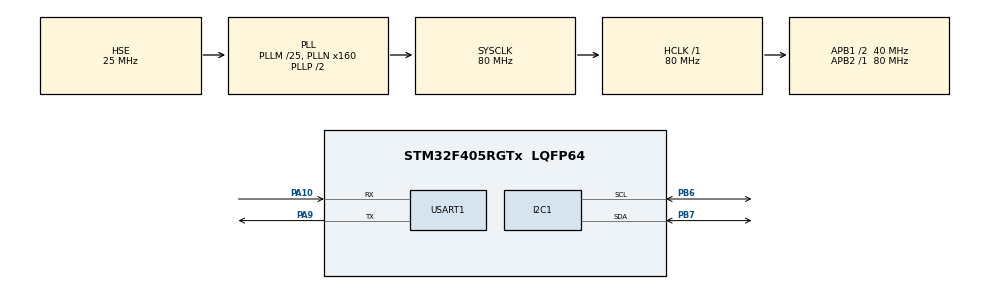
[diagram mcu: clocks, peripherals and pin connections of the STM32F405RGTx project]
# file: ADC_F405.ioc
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Dma.Request0=USART1_TX
Dma.USART1_TX.0.Direction=DMA_MEMORY_TO_PERIPH
Dma.USART1_TX.0.FIFOMode=DMA_FIFOMODE_DISABLE
Dma.USART1_TX.0.Instance=DMA2_Stream7
Dma.USART1_TX.0.MemDataAlignment=DMA_MDATAALIGN_BYTE
Dma.USART1_TX.0.MemInc=DMA_MINC_ENABLE
Dma.USART1_TX.0.Mode=DMA_NORMAL
Dma.USART1_TX.0.PeriphDataAlignment=DMA_PDATAALIGN_BYTE
Dma.USART1_TX.0.PeriphInc=DMA_PINC_DISABLE
Dma.USART1_TX.0.Priority=DMA_PRIORITY_LOW
FREERTOS.Queues01=uart1_smac_rx_inQ,100,uint8_t,0,Dynamic,NULL,NULL;uart1_smac_tx_outQ,10,uint8_t*,0,Dynamic,NULL,NULL;puck_rxQ,50,uint8_t,0,Dynamic,NULL,NULL;ssp_rxQ,50,uint8_t,0,Dynamic,NULL,NULL
FREERTOS.Tasks01=defaultTask,0,128,StartDefaultTask,Default,NULL,Dynamic,NULL,NULL;uart1_smac_t,-3,128,uart1_smac_f,Default,NULL,Dynamic,NULL,NULL;puck_t,-3,128,puck_f,Default,NULL,Dynamic,NULL,NULL;ssp_t,-3,256,ssp_f,Default,NULL,Dynamic,NULL,NULL;adc_t,-3,128,adc_f,Default,NULL,Dynamic,NULL,NULL
FREERTOS.configUSE_NEWLIB_REENTRANT=1
Mcu.Family=STM32F4
Mcu.Name=STM32F405RGTx
Mcu.Package=LQFP64
NVIC.DMA2_Stream7_IRQn=true\:5\:0\:false\:false\:true\:true\:false\:true
NVIC.PriorityGroup=NVIC_PRIORITYGROUP_4
NVIC.TIM1_UP_TIM10_IRQn=true\:0\:0\:false\:false\:true\:false\:false\:true
NVIC.TIM2_IRQn=true\:5\:0\:false\:false\:true\:true\:true\:true
NVIC.TimeBase=TIM1_UP_TIM10_IRQn
NVIC.TimeBaseIP=TIM1
NVIC.USART1_IRQn=true\:5\:0\:false\:false\:true\:true\:true\:true
PA10.Mode=Asynchronous
PA10.Signal=USART1_RX
PA13.Mode=Serial_Wire
PA13.Signal=SYS_JTMS-SWDIO
PA14.Mode=Serial_Wire
PA14.Signal=SYS_JTCK-SWCLK
PA9.Mode=Asynchronous
PA9.Signal=USART1_TX
PB6.GPIO_Pu=GPIO_PULLUP
PB6.Mode=I2C
PB6.Signal=I2C1_SCL
PB7.GPIO_Pu=GPIO_PULLUP
PB7.Mode=I2C
PB7.Signal=I2C1_SDA
PH0-OSC_IN.Mode=HSE-External-Oscillator
PH0-OSC_IN.Signal=RCC_OSC_IN
PH1-OSC_OUT.Mode=HSE-External-Oscillator
PH1-OSC_OUT.Signal=RCC_OSC_OUT
ProjectManager.HeapSize=0x200
ProjectManager.StackSize=0x400
ProjectManager.TargetToolchain=STM32CubeIDE
RCC.48MHZClocksFreq_Value=40000000
RCC.AHBFreq_Value=80000000
RCC.APB1CLKDivider=RCC_HCLK_DIV2
RCC.APB1Freq_Value=40000000
RCC.APB1TimFreq_Value=80000000
RCC.APB2Freq_Value=80000000
RCC.APB2TimFreq_Value=80000000
RCC.CortexFreq_Value=80000000
RCC.HCLKFreq_Value=80000000
RCC.HSE_VALUE=25000000
RCC.HSI_VALUE=16000000
RCC.LSE_VALUE=32768
RCC.PLLM=25
RCC.PLLN=160
RCC.PLLSourceVirtual=RCC_PLLSOURCE_HSE
RCC.SYSCLKFreq_VALUE=80000000
RCC.SYSCLKSource=RCC_SYSCLKSOURCE_PLLCLK
RCC.VCOOutputFreq_Value=160000000
TIM2.Period=800000
USART1.VirtualMode=VM_ASYNC
VP_FREERTOS_VS_CMSIS_V1.Mode=CMSIS_V1
VP_SYS_VS_tim1.Mode=TIM1
VP_TIM2_VS_ClockSourceINT.Mode=Internal
board=custom

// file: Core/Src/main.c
/* USER CODE BEGIN Header */
/**
  ******************************************************************************
  * @file           : main.c
  * @brief          : Main program body
  ******************************************************************************
  * @attention
  *
  * <h2><center>&copy; Copyright (c) 2021 STMicroelectronics.
  * All rights reserved.</center></h2>
  *
  * This software component is licensed by ST under Ultimate Liberty license
  * SLA0044, the "License"; You may not use this file except in compliance with
  * the License. You may obtain a copy of the License at:
  *                             www.st.com/SLA0044
  *
  ******************************************************************************
  */
/* USER CODE END Header */
#include "main.h"
#include "cmsis_os.h"

/* USER CODE BEGIN Includes */
#include "interrupts.h"
#include "PUCK.h"
#include "SSP.h"
#include "smac.h"
#include "ADC.h"
/* USER CODE END Includes */

I2C_HandleTypeDef hi2c1;

TIM_HandleTypeDef htim2;

UART_HandleTypeDef huart1;
DMA_HandleTypeDef hdma_usart1_tx;

osThreadId defaultTaskHandle;
osThreadId uart1_smac_tHandle;
osThreadId puck_tHandle;
osThreadId ssp_tHandle;
osThreadId adc_tHandle;
osMessageQId uart1_smac_rx_inQHandle;
osMessageQId uart1_smac_tx_outQHandle;
osMessageQId puck_rxQHandle;
osMessageQId ssp_rxQHandle;
/* USER CODE BEGIN PV */
smac_controller*  uart1_smac;
extern adc_object adc_main;

/* USER CODE END PV */

void SystemClock_Config(void);
static void MX_GPIO_Init(void);
static void MX_DMA_Init(void);
static void MX_USART1_UART_Init(void);
static void MX_I2C1_Init(void);
static void MX_TIM2_Init(void);
void StartDefaultTask(void const * argument);
void uart1_smac_f(void const * argument);
void puck_f(void const * argument);
void ssp_f(void const * argument);
void adc_f(void const * argument);

int main(void)
{

  /* MCU Configuration--------------------------------------------------------*/

  /* Reset of all peripherals, Initializes the Flash interface and the Systick. */
  HAL_Init();

  /* Configure the system clock */
  SystemClock_Config();

  /* Initialize all configured peripherals */
  MX_GPIO_Init();
  MX_DMA_Init();
  MX_USART1_UART_Init();
  MX_I2C1_Init();
  MX_TIM2_Init();

  /* Create the queue(s) */
  /* definition and creation of uart1_smac_rx_inQ */
  osMessageQDef(uart1_smac_rx_inQ, 100, uint8_t);
  uart1_smac_rx_inQHandle = osMessageCreate(osMessageQ(uart1_smac_rx_inQ), NULL);

  /* definition and creation of uart1_smac_tx_outQ */
  osMessageQDef(uart1_smac_tx_outQ, 10, uint8_t*);
  uart1_smac_tx_outQHandle = osMessageCreate(osMessageQ(uart1_smac_tx_outQ), NULL);

  /* definition and creation of puck_rxQ */
  osMessageQDef(puck_rxQ, 50, uint8_t);
  puck_rxQHandle = osMessageCreate(osMessageQ(puck_rxQ), NULL);

  /* definition and creation of ssp_rxQ */
  osMessageQDef(ssp_rxQ, 50, uint8_t);
  ssp_rxQHandle = osMessageCreate(osMessageQ(ssp_rxQ), NULL);

  /* Create the thread(s) */
  /* definition and creation of defaultTask */
  osThreadDef(defaultTask, StartDefaultTask, osPriorityNormal, 0, 128);
  defaultTaskHandle = osThreadCreate(osThread(defaultTask), NULL);

  /* definition and creation of uart1_smac_t */
  osThreadDef(uart1_smac_t, uart1_smac_f, osPriorityIdle, 0, 128);
  uart1_smac_tHandle = osThreadCreate(osThread(uart1_smac_t), NULL);

  /* definition and creation of puck_t */
  osThreadDef(puck_t, puck_f, osPriorityIdle, 0, 128);
  puck_tHandle = osThreadCreate(osThread(puck_t), NULL);

  /* definition and creation of ssp_t */
  osThreadDef(ssp_t, ssp_f, osPriorityIdle, 0, 256);
  ssp_tHandle = osThreadCreate(osThread(ssp_t), NULL);

  /* definition and creation of adc_t */
  osThreadDef(adc_t, adc_f, osPriorityIdle, 0, 128);
  adc_tHandle = osThreadCreate(osThread(adc_t), NULL);

  /* Start scheduler */
  osKernelStart();

  /* We should never get here as control is now taken by the scheduler */
  /* Infinite loop */
  while (1)
  {

  }
}

void SystemClock_Config(void)
{
  RCC_OscInitTypeDef RCC_OscInitStruct = {0};
  RCC_ClkInitTypeDef RCC_ClkInitStruct = {0};

  /** Configure the main internal regulator output voltage
  */
  __HAL_RCC_PWR_CLK_ENABLE();
  __HAL_PWR_VOLTAGESCALING_CONFIG(PWR_REGULATOR_VOLTAGE_SCALE1);
  /** Initializes the RCC Oscillators according to the specified parameters
  * in the RCC_OscInitTypeDef structure.
  */
  RCC_OscInitStruct.OscillatorType = RCC_OSCILLATORTYPE_HSE;
  RCC_OscInitStruct.HSEState = RCC_HSE_ON;
  RCC_OscInitStruct.PLL.PLLState = RCC_PLL_ON;
  RCC_OscInitStruct.PLL.PLLSource = RCC_PLLSOURCE_HSE;
  RCC_OscInitStruct.PLL.PLLM = 25;
  RCC_OscInitStruct.PLL.PLLN = 160;
  RCC_OscInitStruct.PLL.PLLP = RCC_PLLP_DIV2;
  RCC_OscInitStruct.PLL.PLLQ = 4;
  if (HAL_RCC_OscConfig(&RCC_OscInitStruct) != HAL_OK)
  {
    Error_Handler();
  }
  /** Initializes the CPU, AHB and APB buses clocks
  */
  RCC_ClkInitStruct.ClockType = RCC_CLOCKTYPE_HCLK|RCC_CLOCKTYPE_SYSCLK
                              |RCC_CLOCKTYPE_PCLK1|RCC_CLOCKTYPE_PCLK2;
  RCC_ClkInitStruct.SYSCLKSource = RCC_SYSCLKSOURCE_PLLCLK;
  RCC_ClkInitStruct.AHBCLKDivider = RCC_SYSCLK_DIV1;
  RCC_ClkInitStruct.APB1CLKDivider = RCC_HCLK_DIV2;
  RCC_ClkInitStruct.APB2CLKDivider = RCC_HCLK_DIV1;

  if (HAL_RCC_ClockConfig(&RCC_ClkInitStruct, FLASH_LATENCY_2) != HAL_OK)
  {
    Error_Handler();
  }
}

static void MX_I2C1_Init(void)
{

  hi2c1.Instance = I2C1;
  hi2c1.Init.ClockSpeed = 100000;
  hi2c1.Init.DutyCycle = I2C_DUTYCYCLE_2;
  hi2c1.Init.OwnAddress1 = 0;
  hi2c1.Init.AddressingMode = I2C_ADDRESSINGMODE_7BIT;
  hi2c1.Init.DualAddressMode = I2C_DUALADDRESS_DISABLE;
  hi2c1.Init.OwnAddress2 = 0;
  hi2c1.Init.GeneralCallMode = I2C_GENERALCALL_DISABLE;
  hi2c1.Init.NoStretchMode = I2C_NOSTRETCH_DISABLE;
  if (HAL_I2C_Init(&hi2c1) != HAL_OK)
  {
    Error_Handler();
  }

}

static void MX_TIM2_Init(void)
{

  TIM_ClockConfigTypeDef sClockSourceConfig = {0};
  TIM_MasterConfigTypeDef sMasterConfig = {0};

  htim2.Instance = TIM2;
  htim2.Init.Prescaler = 0;
  htim2.Init.CounterMode = TIM_COUNTERMODE_UP;
  htim2.Init.Period = 800000;
  htim2.Init.ClockDivision = TIM_CLOCKDIVISION_DIV1;
  htim2.Init.AutoReloadPreload = TIM_AUTORELOAD_PRELOAD_DISABLE;
  if (HAL_TIM_Base_Init(&htim2) != HAL_OK)
  {
    Error_Handler();
  }
  sClockSourceConfig.ClockSource = TIM_CLOCKSOURCE_INTERNAL;
  if (HAL_TIM_ConfigClockSource(&htim2, &sClockSourceConfig) != HAL_OK)
  {
    Error_Handler();
  }
  sMasterConfig.MasterOutputTrigger = TIM_TRGO_RESET;
  sMasterConfig.MasterSlaveMode = TIM_MASTERSLAVEMODE_DISABLE;
  if (HAL_TIMEx_MasterConfigSynchronization(&htim2, &sMasterConfig) != HAL_OK)
  {
    Error_Handler();
  }

}

static void MX_USART1_UART_Init(void)
{

  huart1.Instance = USART1;
  huart1.Init.BaudRate = 115200;
  huart1.Init.WordLength = UART_WORDLENGTH_8B;
  huart1.Init.StopBits = UART_STOPBITS_1;
  huart1.Init.Parity = UART_PARITY_NONE;
  huart1.Init.Mode = UART_MODE_TX_RX;
  huart1.Init.HwFlowCtl = UART_HWCONTROL_NONE;
  huart1.Init.OverSampling = UART_OVERSAMPLING_16;
  if (HAL_UART_Init(&huart1) != HAL_OK)
  {
    Error_Handler();
  }

}

static void MX_DMA_Init(void)
{

  /* DMA controller clock enable */
  __HAL_RCC_DMA2_CLK_ENABLE();

  /* DMA interrupt init */
  /* DMA2_Stream7_IRQn interrupt configuration */
  HAL_NVIC_SetPriority(DMA2_Stream7_IRQn, 5, 0);
  HAL_NVIC_EnableIRQ(DMA2_Stream7_IRQn);

}

static void MX_GPIO_Init(void)
{

  /* GPIO Ports Clock Enable */
  __HAL_RCC_GPIOH_CLK_ENABLE();
  __HAL_RCC_GPIOA_CLK_ENABLE();
  __HAL_RCC_GPIOB_CLK_ENABLE();

}

/* USER CODE BEGIN 4 */

void HAL_UART_RxCpltCallback(UART_HandleTypeDef *huart)
{
  uart_rx_it(huart);
}

void HAL_UART_TxCpltCallback(UART_HandleTypeDef *huart)
{
  uart_tx_it(huart);
}

/* USER CODE END 4 */

void StartDefaultTask(void const * argument)
{
  /* USER CODE BEGIN 5 */
  /* Infinite loop */

  timed_callbacks_list_init(&htim2);
  smac_list_init();
  uart1_smac=smac_create_new(&huart1,uart1_smac_rx_inQHandle,uart1_smac_tx_outQHandle);
  puck_init(uart1_smac,puck_rxQHandle,ssp_rxQHandle);
  ssp_init(uart1_smac,ssp_rxQHandle);
  adc_init(&hi2c1);

  uint8_t uart_buf[20];

  for(;;)
  {
	  /*
	  p=(uint8_t*) malloc(sizeof(uint8_t));
	  *p=*p+1;
	 if(smac_send(uart1_smac,p,1,FREE_MEMORY_FLAG)!=RES_OK)
	 {
		 free(p);
	 }
	 */
	 //smac_send(uart1_smac,tt,10,KEEP_MEMORY_FLAG);

	 //sprintf(uart_buf,"adc:%d\r",adc_main.adc_ch1_value);
	 //HAL_UART_Transmit(&huart1,uart_buf,strlen(uart_buf),100);
	 osDelay(1000);

  }
  /* USER CODE END 5 */
}

void uart1_smac_f(void const * argument)
{
  /* USER CODE BEGIN uart1_smac_f */
  /* Infinite loop */
  osDelay(500);
  smac_loop(uart1_smac);
  /* USER CODE END uart1_smac_f */
}

void puck_f(void const * argument)
{
  /* USER CODE BEGIN puck_f */
  /* Infinite loop */
  osDelay(500);
  puck_loop();
  /* USER CODE END puck_f */
}

void ssp_f(void const * argument)
{
  /* USER CODE BEGIN ssp_f */
  /* Infinite loop */
  osDelay(500);
  ssp_loop();
  /* USER CODE END ssp_f */
}

void adc_f(void const * argument)
{
  /* USER CODE BEGIN adc_f */
  /* Infinite loop */
  osDelay(500);
  adc_loop();
  /* USER CODE END adc_f */
}

void HAL_TIM_PeriodElapsedCallback(TIM_HandleTypeDef *htim)
{
  if (htim->Instance == TIM1) {
    HAL_IncTick();
  }
  /* USER CODE BEGIN Callback 1 */

  else if (htim->Instance == TIM2) { // should be every 10 ms
	  timed_callbacks_update();
   }

  /* USER CODE END Callback 1 */
}

void Error_Handler(void)
{
  __disable_irq();
  while (1)
  {
  }
}

/************************ (C) COPYRIGHT STMicroelectronics *****END OF FILE****/
